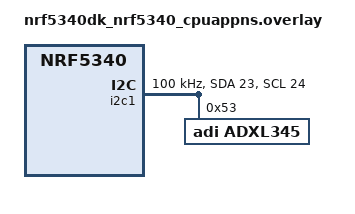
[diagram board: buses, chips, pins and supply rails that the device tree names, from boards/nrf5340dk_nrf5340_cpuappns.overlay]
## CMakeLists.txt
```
# Copyright (c) 2019 Brett Witherspoon
#
# SPDX-License-Identifier: Apache-2.0

cmake_minimum_required(VERSION 3.13.1)

find_package(Zephyr REQUIRED HINTS $ENV{ZEPHYR_BASE})
project(adxl345)

target_sources(app PRIVATE src/main.c)
```

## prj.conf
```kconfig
CONFIG_STDOUT_CONSOLE=y

# I2C
CONFIG_I2C=y
CONFIG_I2C_1=y

# sensor
CONFIG_SENSOR=y
CONFIG_ADXL345=y

CONFIG_CBPRINTF_FP_SUPPORT=y
```

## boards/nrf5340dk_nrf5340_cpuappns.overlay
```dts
/*
 * Copyright (c) 2019 Nordic Semiconductor ASA
 *
 * SPDX-License-Identifier: Apache-2.0
 */

/* &spi1 {
	status = "okay";
	sck-pin = <25>;
	mosi-pin = <23>;
	miso-pin = <24>;
	cs-gpios = <&gpio0 22 GPIO_ACTIVE_LOW>;

	adxl362@0 {
		compatible = "adi,adxl362";
		label = "ADXL362";
		spi-max-frequency = <8000000>;
		reg = <0>;
		int1-gpios = <&gpio0 11 GPIO_ACTIVE_HIGH>;
	};
}; */

/*
 * Copyright (c) 2020, Nordic Semiconductor ASA
 *
 * SPDX-License-Identifier: Apache-2.0
 */

&i2c1 {
	compatible = "nordic,nrf-twim";
	status = "okay";
	sda-pin = < 23 >; //P0.23
	scl-pin = < 24 >; //P0.24
    clock-frequency = <I2C_BITRATE_STANDARD>; 
	
	adxl345@53 {
		compatible = "adi,adxl345";
		reg = <0x53>;
		label = "ADXL345";
	};
};
```

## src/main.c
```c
/*
 * Copyright (c) 2019 Brett Witherspoon
 *
 * SPDX-License-Identifier: Apache-2.0
 */

#include <zephyr.h>
#include <stdio.h>
#include <device.h>
#include <drivers/sensor.h>

K_SEM_DEFINE(sem, 0, 1);

static void trigger_handler(const struct device *dev,
			    struct sensor_trigger *trig)
{
	switch (trig->type) {
	case SENSOR_TRIG_DATA_READY:
		if (sensor_sample_fetch(dev) < 0) {
			printf("Sample fetch error\n");
			return;
		}
		k_sem_give(&sem);
		break;
	case SENSOR_TRIG_THRESHOLD:
		printf("Threshold trigger\n");
		break;
	default:
		printf("Unknown trigger\n");
	}
}

void main(void)
{
	struct sensor_value accel[3];

	const struct device *dev = device_get_binding(DT_LABEL(DT_INST(0, adi_adxl345)));
	if (dev == NULL) {
		printf("Device get binding device\n");
		return;
	}

	if (IS_ENABLED(CONFIG_ADXL345_TRIGGER)) {
		struct sensor_trigger trig = { .chan = SENSOR_CHAN_ACCEL_XYZ };

		trig.type = SENSOR_TRIG_THRESHOLD;
		if (sensor_trigger_set(dev, &trig, trigger_handler)) {
			printf("Trigger set error\n");
			return;
		}

		trig.type = SENSOR_TRIG_DATA_READY;
		if (sensor_trigger_set(dev, &trig, trigger_handler)) {
			printf("Trigger set error\n");
		}
	}

	while (true) {
		if (IS_ENABLED(CONFIG_ADXL345_TRIGGER)) {
			k_sem_take(&sem, K_FOREVER);
		} else {
			k_sleep(K_MSEC(1000));
			if (sensor_sample_fetch(dev) < 0) {
				printf("Sample fetch error\n");
				return;
			}
		}

		if (sensor_channel_get(dev, SENSOR_CHAN_ACCEL_X, &accel[0]) < 0) {
			printf("Channel get error\n");
			return;
		}

		if (sensor_channel_get(dev, SENSOR_CHAN_ACCEL_Y, &accel[1]) < 0) {
			printf("Channel get error\n");
			return;
		}

		if (sensor_channel_get(dev, SENSOR_CHAN_ACCEL_Z, &accel[2]) < 0) {
			printf("Channel get error\n");
			return;
		}

		printf("x: %.1f, y: %.1f, z: %.1f (m/s^2)\n",
		       sensor_value_to_double(&accel[0]),
		       sensor_value_to_double(&accel[1]),
		       sensor_value_to_double(&accel[2]));
	}
}
```
